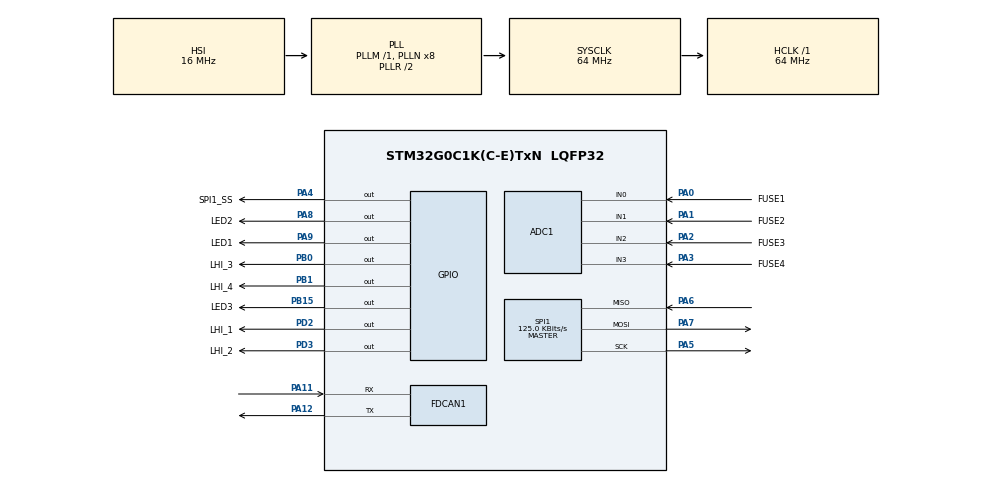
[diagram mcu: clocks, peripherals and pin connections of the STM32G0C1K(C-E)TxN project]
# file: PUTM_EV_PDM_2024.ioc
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ADC1.Channel-0\#ChannelRegularConversion=ADC_CHANNEL_0
ADC1.Channel-1\#ChannelRegularConversion=ADC_CHANNEL_1
ADC1.Channel-2\#ChannelRegularConversion=ADC_CHANNEL_2
ADC1.Channel-3\#ChannelRegularConversion=ADC_CHANNEL_3
ADC1.ClockPrescaler=ADC_CLOCK_ASYNC_DIV8
ADC1.ContinuousConvMode=ENABLE
ADC1.DMAContinuousRequests=ENABLE
ADC1.NbrOfConversion=4
ADC1.NbrOfConversionFlag=1
ADC1.Rank-0\#ChannelRegularConversion=1
ADC1.Rank-1\#ChannelRegularConversion=2
ADC1.Rank-2\#ChannelRegularConversion=3
ADC1.Rank-3\#ChannelRegularConversion=4
ADC1.SamplingTime-0\#ChannelRegularConversion=ADC_SAMPLINGTIME_COMMON_1
ADC1.SamplingTime-1\#ChannelRegularConversion=ADC_SAMPLINGTIME_COMMON_1
ADC1.SamplingTime-2\#ChannelRegularConversion=ADC_SAMPLINGTIME_COMMON_1
ADC1.SamplingTime-3\#ChannelRegularConversion=ADC_SAMPLINGTIME_COMMON_1
ADC1.SamplingTimeCommon1=ADC_SAMPLETIME_79CYCLES_5
ADC1.SamplingTimeCommon2=ADC_SAMPLETIME_19CYCLES_5
ADC1.SelectedChannel=ADC_CHANNEL_0|ADC_CHANNEL_1|ADC_CHANNEL_2|ADC_CHANNEL_3
ADC1.master=1
Dma.ADC1.0.Direction=DMA_PERIPH_TO_MEMORY
Dma.ADC1.0.EventEnable=DISABLE
Dma.ADC1.0.Instance=DMA1_Channel1
Dma.ADC1.0.MemDataAlignment=DMA_MDATAALIGN_HALFWORD
Dma.ADC1.0.MemInc=DMA_MINC_ENABLE
Dma.ADC1.0.Mode=DMA_CIRCULAR
Dma.ADC1.0.PeriphDataAlignment=DMA_PDATAALIGN_HALFWORD
Dma.ADC1.0.PeriphInc=DMA_PINC_DISABLE
Dma.ADC1.0.Polarity=HAL_DMAMUX_REQ_GEN_RISING
Dma.ADC1.0.Priority=DMA_PRIORITY_LOW
Dma.ADC1.0.RequestNumber=1
Dma.ADC1.0.SignalID=NONE
Dma.ADC1.0.SyncEnable=DISABLE
Dma.ADC1.0.SyncPolarity=HAL_DMAMUX_SYNC_NO_EVENT
Dma.ADC1.0.SyncRequestNumber=1
Dma.ADC1.0.SyncSignalID=NONE
Dma.Request0=ADC1
FDCAN1.CalculateBaudRateNominal=50000
FDCAN1.CalculateTimeBitNominal=20000
FDCAN1.CalculateTimeQuantumNominal=4000.0
Mcu.Family=STM32G0
Mcu.Name=STM32G0C1K(C-E)TxN
Mcu.Package=LQFP32
NVIC.DMA1_Channel1_IRQn=true\:0\:0\:false\:false\:true\:false\:true\:true
NVIC.TIM1_BRK_UP_TRG_COM_IRQn=true\:3\:0\:false\:false\:true\:false\:true\:true
NVIC.TimeBase=TIM1_BRK_UP_TRG_COM_IRQn
NVIC.TimeBaseIP=TIM1
PA0.GPIO_Label=FUSE1
PA0.Mode=IN0
PA0.Signal=ADC1_IN0
PA1.GPIO_Label=FUSE2
PA1.Mode=IN1
PA1.Signal=ADC1_IN1
PA11\ [PA9].Mode=FDCAN_Activate
PA11\ [PA9].Signal=FDCAN1_RX
PA12\ [PA10].Mode=FDCAN_Activate
PA12\ [PA10].Signal=FDCAN1_TX
PA13.Mode=Serial_Wire
PA13.Signal=SYS_SWDIO
PA14-BOOT0.Mode=Serial_Wire
PA14-BOOT0.Signal=SYS_SWCLK
PA2.GPIO_Label=FUSE3
PA2.Mode=IN2
PA2.Signal=ADC1_IN2
PA3.GPIO_Label=FUSE4
PA3.Mode=IN3
PA3.Signal=ADC1_IN3
PA4.GPIO_Label=SPI1_SS
PA4.Signal=GPIO_Output
PA5.Mode=Full_Duplex_Master
PA5.Signal=SPI1_SCK
PA6.Mode=Full_Duplex_Master
PA6.Signal=SPI1_MISO
PA7.Mode=Full_Duplex_Master
PA7.Signal=SPI1_MOSI
PA8.GPIO_Label=LED2
PA8.Signal=GPIO_Output
PA9.GPIO_Label=LED1
PA9.Signal=GPIO_Output
PB0.GPIO_Label=LHI_3
PB0.Signal=GPIO_Output
PB1.GPIO_Label=LHI_4
PB1.Signal=GPIO_Output
PB15.GPIO_Label=LED3
PB15.Signal=GPIO_Output
PB6.Signal=USART1_TX
PB7.Signal=USART1_RX
PD2.GPIO_Label=LHI_1
PD2.Signal=GPIO_Output
PD3.GPIO_Label=LHI_2
PD3.Signal=GPIO_Output
ProjectManager.HeapSize=0x200
ProjectManager.StackSize=0x400
ProjectManager.TargetToolchain=STM32CubeIDE
RCC.ADCFreq_Value=64000000
RCC.AHBFreq_Value=64000000
RCC.APB1CLKDivider=RCC_HCLK_DIV16
RCC.CortexFreq_Value=64000000
RCC.EXTERNAL_CLOCK_VALUE=48000
RCC.HCLKFreq_Value=64000000
RCC.HSE_VALUE=8000000
RCC.HSI48_VALUE=48000000
RCC.HSI_VALUE=16000000
RCC.LSE_VALUE=32768
RCC.SYSCLKFreq_VALUE=64000000
RCC.SYSCLKSource=RCC_SYSCLKSOURCE_PLLCLK
RCC.USBFreq_Value=48000000
RCC.VCOOutputFreq_Value=128000000
SPI1.BaudRatePrescaler=SPI_BAUDRATEPRESCALER_32
SPI1.CLKPhase=SPI_PHASE_2EDGE
SPI1.CalculateBaudRate=125.0 KBits/s
SPI1.Direction=SPI_DIRECTION_2LINES
SPI1.Mode=SPI_MODE_MASTER
SPI1.VirtualType=VM_MASTER
VP_SYS_VS_DBSignals.Mode=DisableDeadBatterySignals
VP_SYS_VS_tim1.Mode=TIM1
board=custom

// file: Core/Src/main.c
/* USER CODE BEGIN Header */
/**
  ******************************************************************************
  * @file           : main.c
  * @brief          : Main program body
  ******************************************************************************
  * @attention
  *
  * Copyright (c) 2024 STMicroelectronics.
  * All rights reserved.
  *
  * This software is licensed under terms that can be found in the LICENSE file
  * in the root directory of this software component.
  * If no LICENSE file comes with this software, it is provided AS-IS.
  *
  ******************************************************************************
  */
/* USER CODE END Header */
#include "main.h"
#include "adc.h"
#include "dma.h"
#include "fdcan.h"
#include "spi.h"
#include "gpio.h"

/* USER CODE BEGIN PD */
#define ADC_BUF_SIZE 4
#define __VREFANALOG_VOLTAGE__ 3300
#define OUT_READY 0x8F // 1000 1111
#define OUT_READY1 0x9F // 1000 1111
#define OUT_CLOSE 0x80 // 1000 0000
#define DCR_ACTIVE 0xF5 // 1111 0101
#define DCR_SLEEP 0xFF // 1111 1111
#define DCR_CHANNEL0 0xF8 // 1111 1000
#define DCR_CHANNEL1 0xF9 // 1111 1001
#define DCR_CHANNEL2 0xFA // 1111 1010
#define DCR_CHANNEL3 0xFB // 1111 1011
// Diagnosis Registers - Read Commands
#define WRNDIAG 0x01// 0000 0001
#define STDDIAG 0x02// 0000 0010
#define ERRDIAG 0x03// 0000 0011
// Configuration Registers - Read Commands
#define OUT_READ 0x00 // 0000 0000
#define RCS_READ 0x08 // 0000 1000
#define SRC_READ 0x09 // 0000 1001
#define OCR_READ 0x04 // 0000 0100
#define RCD_READ 0x0A // 0000 1100
#define KRC_READ 0x05 // 0000 0101
#define PCS_READ 0x0B // 0000 1101
#define HWCR_READ 0x05 // 0000 0110
#define ICS_READ 0x0B // 0000 1110
#define DCR_READ 0x07 // 0000 0111
/* USER CODE END PD */

/* USER CODE BEGIN PV */
uint8_t kek1[6] = { 0x8f, 0, 0, 0, 0, 0 };
uint8_t kek2[6];

uint16_t adc_buffer[ADC_BUF_SIZE];
uint8_t adc_ready = 0;

uint8_t tx_buffer[4];
uint8_t rx_buffer[4];

uint8_t after_first_loop = 0;

uint32_t fuse1_is_channel0=0;
uint32_t fuse2_is_channel0;
uint32_t fuse3_is_channel0;
uint32_t fuse4_is_channel0;

uint32_t fuse1_is_channel1;
uint32_t fuse2_is_channel1;
uint32_t fuse3_is_channel1;
uint32_t fuse4_is_channel1;

uint32_t fuse1_is_channel2;
uint32_t fuse2_is_channel2;
uint32_t fuse3_is_channel2;
uint32_t fuse4_is_channel2;

uint32_t fuse1_is_channel3;
uint32_t fuse2_is_channel3;
uint32_t fuse3_is_channel3;
uint32_t fuse4_is_channel3;
/* USER CODE END PV */

void SystemClock_Config(void);

int main(void)
{

  /* MCU Configuration--------------------------------------------------------*/

  /* Reset of all peripherals, Initializes the Flash interface and the Systick. */
  HAL_Init();

  /* Configure the system clock */
  SystemClock_Config();

  /* Initialize all configured peripherals */
  MX_GPIO_Init();
  MX_DMA_Init();
  MX_ADC1_Init();
  MX_FDCAN1_Init();
  MX_SPI1_Init();
  /* USER CODE BEGIN 2 */
  HAL_GPIO_WritePin(GPIOD, GPIO_PIN_2, GPIO_PIN_RESET);
  HAL_GPIO_WritePin(GPIOD, GPIO_PIN_3, GPIO_PIN_RESET);
  HAL_GPIO_WritePin(GPIOB, GPIO_PIN_0, GPIO_PIN_RESET);
  HAL_GPIO_WritePin(GPIOB, GPIO_PIN_1, GPIO_PIN_RESET);
  //sleep -> ready
  tx_buffer[0] = OUT_READY;
  tx_buffer[1] = OUT_READY;
  tx_buffer[2] = OUT_READY;
  tx_buffer[3] = OUT_READY;
  HAL_GPIO_WritePin(SPI1_SS_GPIO_Port, SPI1_SS_Pin, GPIO_PIN_RESET);
  HAL_SPI_TransmitReceive(&hspi1, tx_buffer, rx_buffer, 4, 100);
  HAL_GPIO_WritePin(SPI1_SS_GPIO_Port, SPI1_SS_Pin, GPIO_PIN_SET);
  //ready -> active
  tx_buffer[0] = DCR_ACTIVE;
  tx_buffer[1] = DCR_ACTIVE;
  tx_buffer[2] = DCR_ACTIVE;
  tx_buffer[3] = DCR_ACTIVE;
  HAL_GPIO_WritePin(SPI1_SS_GPIO_Port, SPI1_SS_Pin, GPIO_PIN_RESET);
  HAL_SPI_TransmitReceive(&hspi1, tx_buffer, rx_buffer, 4, 100);
  HAL_GPIO_WritePin(SPI1_SS_GPIO_Port, SPI1_SS_Pin, GPIO_PIN_SET);

  HAL_ADC_Start_DMA(&hadc1, adc_buffer, ADC_BUF_SIZE);
  /* USER CODE END 2 */

  /* Infinite loop */
  /* USER CODE BEGIN WHILE */
  while (1)
  {

	  HAL_GPIO_TogglePin(GPIOA, GPIO_PIN_9);
	  // set channel 0 - 7A // value fuse = 0,2244*current + 93 // 1215 - 5A
	  tx_buffer[0] = DCR_CHANNEL0;
	  tx_buffer[1] = DCR_CHANNEL0;
	  tx_buffer[2] = DCR_CHANNEL0;
	  tx_buffer[3] = DCR_CHANNEL0;
	  HAL_GPIO_WritePin(SPI1_SS_GPIO_Port, SPI1_SS_Pin, GPIO_PIN_RESET);
	  HAL_SPI_TransmitReceive(&hspi1, tx_buffer, rx_buffer, 4, 100);
	  HAL_GPIO_WritePin(SPI1_SS_GPIO_Port, SPI1_SS_Pin, GPIO_PIN_SET);
	  // check current on channel 0 - 7A
	  fuse1_is_channel0 = __HAL_ADC_CALC_DATA_TO_VOLTAGE(__VREFANALOG_VOLTAGE__,adc_buffer[0], ADC_RESOLUTION12b);
	  fuse2_is_channel0 = __HAL_ADC_CALC_DATA_TO_VOLTAGE(__VREFANALOG_VOLTAGE__,adc_buffer[1], ADC_RESOLUTION12b);
	  fuse3_is_channel0 = __HAL_ADC_CALC_DATA_TO_VOLTAGE(__VREFANALOG_VOLTAGE__,adc_buffer[2], ADC_RESOLUTION12b);
	  fuse4_is_channel0 = __HAL_ADC_CALC_DATA_TO_VOLTAGE(__VREFANALOG_VOLTAGE__,adc_buffer[3], ADC_RESOLUTION12b);
//	  if (fuse1_is_channel0 > 110 && after_first_loop) {
//
//	  tx_buffer[0] = OUT_CLOSE;
//	  tx_buffer[1] = OUT_CLOSE;
//	  tx_buffer[2] = OUT_CLOSE;
//	  tx_buffer[3] = OUT_CLOSE;
//	  HAL_GPIO_WritePin(SPI1_SS_GPIO_Port, SPI1_SS_Pin, GPIO_PIN_RESET);
//	  HAL_SPI_TransmitReceive(&hspi1, tx_buffer, rx_buffer, 4, 100);
//	  HAL_GPIO_WritePin(SPI1_SS_GPIO_Port, SPI1_SS_Pin, GPIO_PIN_SET);
//	}
//	  after_first_loop = 1;

	  // set channel 1 - 4A // value fuse = 0,2244*current + 93
	  tx_buffer[0] = DCR_CHANNEL1;
	  tx_buffer[1] = DCR_CHANNEL1;
	  tx_buffer[2] = DCR_CHANNEL1;
	  tx_buffer[3] = DCR_CHANNEL1;
	  HAL_GPIO_WritePin(SPI1_SS_GPIO_Port, SPI1_SS_Pin, GPIO_PIN_RESET);
	  HAL_SPI_TransmitReceive(&hspi1, tx_buffer, rx_buffer, 4, 100);
	  HAL_GPIO_WritePin(SPI1_SS_GPIO_Port, SPI1_SS_Pin, GPIO_PIN_SET);
	  // check current on channel 1 - 4A
	  fuse1_is_channel1 = __HAL_ADC_CALC_DATA_TO_VOLTAGE(__VREFANALOG_VOLTAGE__,adc_buffer[1], ADC_RESOLUTION12b);
	  fuse2_is_channel1 = __HAL_ADC_CALC_DATA_TO_VOLTAGE(__VREFANALOG_VOLTAGE__,adc_buffer[1], ADC_RESOLUTION12b);
	  fuse3_is_channel1 = __HAL_ADC_CALC_DATA_TO_VOLTAGE(__VREFANALOG_VOLTAGE__,adc_buffer[2], ADC_RESOLUTION12b);
	  fuse4_is_channel1 = __HAL_ADC_CALC_DATA_TO_VOLTAGE(__VREFANALOG_VOLTAGE__,adc_buffer[3], ADC_RESOLUTION12b);

	  // set channel 2 - 4A // value fuse = 0,2244*current + 93
	  tx_buffer[0] = DCR_CHANNEL2;
	  tx_buffer[1] = DCR_CHANNEL2;
	  tx_buffer[2] = DCR_CHANNEL2;
	  tx_buffer[3] = DCR_CHANNEL2;
	  HAL_GPIO_WritePin(SPI1_SS_GPIO_Port, SPI1_SS_Pin, GPIO_PIN_RESET);
	  HAL_SPI_TransmitReceive(&hspi1, tx_buffer, rx_buffer, 4, 100);
	  HAL_GPIO_WritePin(SPI1_SS_GPIO_Port, SPI1_SS_Pin, GPIO_PIN_SET);
	  // check current on channel 2 - 4A
	  fuse1_is_channel2 = __HAL_ADC_CALC_DATA_TO_VOLTAGE(__VREFANALOG_VOLTAGE__,adc_buffer[2], ADC_RESOLUTION12b);
	  fuse2_is_channel2 = __HAL_ADC_CALC_DATA_TO_VOLTAGE(__VREFANALOG_VOLTAGE__,adc_buffer[1], ADC_RESOLUTION12b);
	  fuse3_is_channel2 = __HAL_ADC_CALC_DATA_TO_VOLTAGE(__VREFANALOG_VOLTAGE__,adc_buffer[2], ADC_RESOLUTION12b);
	  fuse4_is_channel2 = __HAL_ADC_CALC_DATA_TO_VOLTAGE(__VREFANALOG_VOLTAGE__,adc_buffer[3], ADC_RESOLUTION12b);

	  // set channel 3 - 7A // value fuse = 0,2244*current + 93
	  tx_buffer[0] = DCR_CHANNEL3;
	  tx_buffer[1] = DCR_CHANNEL3;
	  tx_buffer[2] = DCR_CHANNEL3;
	  tx_buffer[3] = DCR_CHANNEL3;
	  HAL_GPIO_WritePin(SPI1_SS_GPIO_Port, SPI1_SS_Pin, GPIO_PIN_RESET);
	  HAL_SPI_TransmitReceive(&hspi1, tx_buffer, rx_buffer, 4, 100);
	  HAL_GPIO_WritePin(SPI1_SS_GPIO_Port, SPI1_SS_Pin, GPIO_PIN_SET);
	  // check current on channel 3 - 7A // value fuse = 0,2244*current + 93
	  fuse1_is_channel3 = __HAL_ADC_CALC_DATA_TO_VOLTAGE(__VREFANALOG_VOLTAGE__,adc_buffer[2], ADC_RESOLUTION12b);
	  fuse2_is_channel3 = __HAL_ADC_CALC_DATA_TO_VOLTAGE(__VREFANALOG_VOLTAGE__,adc_buffer[1], ADC_RESOLUTION12b);
	  fuse3_is_channel3 = __HAL_ADC_CALC_DATA_TO_VOLTAGE(__VREFANALOG_VOLTAGE__,adc_buffer[2], ADC_RESOLUTION12b);
	  fuse4_is_channel3 = __HAL_ADC_CALC_DATA_TO_VOLTAGE(__VREFANALOG_VOLTAGE__,adc_buffer[3], ADC_RESOLUTION12b);
	  HAL_Delay(100);
//	  if (fuse2_is_channel3 > 150  && after_first_loop) {
//
//	 	  tx_buffer[0] = OUT_CLOSE;
//	 	  tx_buffer[1] = OUT_CLOSE;
//	 	  tx_buffer[2] = OUT_CLOSE;
//	 	  tx_buffer[3] = OUT_CLOSE;
//	 	  HAL_GPIO_WritePin(SPI1_SS_GPIO_Port, SPI1_SS_Pin, GPIO_PIN_RESET);
//	 	  HAL_SPI_TransmitReceive(&hspi1, tx_buffer, rx_buffer, 4, 100);
//	 	  HAL_GPIO_WritePin(SPI1_SS_GPIO_Port, SPI1_SS_Pin, GPIO_PIN_SET);
//	 	}

	  if (fuse1_is_channel0 > 1180 || fuse2_is_channel0 > 1180 || fuse3_is_channel0 > 1180|| fuse4_is_channel0 > 1180 ||
		  fuse1_is_channel3 > 1180 || fuse2_is_channel3 > 1180 || fuse3_is_channel3 > 1180|| fuse4_is_channel3 > 1180  && after_first_loop)
	  {

		  tx_buffer[0] = OUT_CLOSE;
		  tx_buffer[1] = OUT_CLOSE;
		  tx_buffer[2] = OUT_CLOSE;
		  tx_buffer[3] = OUT_CLOSE;
		  HAL_GPIO_WritePin(SPI1_SS_GPIO_Port, SPI1_SS_Pin, GPIO_PIN_RESET);
		  HAL_SPI_TransmitReceive(&hspi1, tx_buffer, rx_buffer, 4, 100);
		  HAL_GPIO_WritePin(SPI1_SS_GPIO_Port, SPI1_SS_Pin, GPIO_PIN_SET);
		  HAL_Delay(1000);

	  }
	  if (fuse1_is_channel1 > 990 || fuse2_is_channel1 > 990 || fuse3_is_channel1 > 990|| fuse4_is_channel1 > 990 ||
		  fuse1_is_channel2 > 990 || fuse2_is_channel2 > 990 || fuse3_is_channel2 > 990|| fuse4_is_channel2 > 990  && after_first_loop)
	  	  {

	  		  tx_buffer[0] = OUT_CLOSE;
	  		  tx_buffer[1] = OUT_CLOSE;
	  		  tx_buffer[2] = OUT_CLOSE;
	  		  tx_buffer[3] = OUT_CLOSE;
	  		  HAL_GPIO_WritePin(SPI1_SS_GPIO_Port, SPI1_SS_Pin, GPIO_PIN_RESET);
	  		  HAL_SPI_TransmitReceive(&hspi1, tx_buffer, rx_buffer, 4, 100);
	  		  HAL_GPIO_WritePin(SPI1_SS_GPIO_Port, SPI1_SS_Pin, GPIO_PIN_SET);
	  		HAL_Delay(1000);

	  	  }
	 	  after_first_loop = 1;

    /* USER CODE END WHILE */

  }
}

void SystemClock_Config(void)
{
  RCC_OscInitTypeDef RCC_OscInitStruct = {0};
  RCC_ClkInitTypeDef RCC_ClkInitStruct = {0};

  /** Configure the main internal regulator output voltage
  */
  HAL_PWREx_ControlVoltageScaling(PWR_REGULATOR_VOLTAGE_SCALE1);

  /** Initializes the RCC Oscillators according to the specified parameters
  * in the RCC_OscInitTypeDef structure.
  */
  RCC_OscInitStruct.OscillatorType = RCC_OSCILLATORTYPE_HSI;
  RCC_OscInitStruct.HSIState = RCC_HSI_ON;
  RCC_OscInitStruct.HSIDiv = RCC_HSI_DIV1;
  RCC_OscInitStruct.HSICalibrationValue = RCC_HSICALIBRATION_DEFAULT;
  RCC_OscInitStruct.PLL.PLLState = RCC_PLL_ON;
  RCC_OscInitStruct.PLL.PLLSource = RCC_PLLSOURCE_HSI;
  RCC_OscInitStruct.PLL.PLLM = RCC_PLLM_DIV1;
  RCC_OscInitStruct.PLL.PLLN = 8;
  RCC_OscInitStruct.PLL.PLLP = RCC_PLLP_DIV2;
  RCC_OscInitStruct.PLL.PLLQ = RCC_PLLQ_DIV2;
  RCC_OscInitStruct.PLL.PLLR = RCC_PLLR_DIV2;
  if (HAL_RCC_OscConfig(&RCC_OscInitStruct) != HAL_OK)
  {
    Error_Handler();
  }

  /** Initializes the CPU, AHB and APB buses clocks
  */
  RCC_ClkInitStruct.ClockType = RCC_CLOCKTYPE_HCLK|RCC_CLOCKTYPE_SYSCLK
                              |RCC_CLOCKTYPE_PCLK1;
  RCC_ClkInitStruct.SYSCLKSource = RCC_SYSCLKSOURCE_PLLCLK;
  RCC_ClkInitStruct.AHBCLKDivider = RCC_SYSCLK_DIV1;
  RCC_ClkInitStruct.APB1CLKDivider = RCC_HCLK_DIV16;

  if (HAL_RCC_ClockConfig(&RCC_ClkInitStruct, FLASH_LATENCY_2) != HAL_OK)
  {
    Error_Handler();
  }
}

void HAL_TIM_PeriodElapsedCallback(TIM_HandleTypeDef *htim)
{
  if (htim->Instance == TIM1) {
    HAL_IncTick();
  }
}

void Error_Handler(void)
{
  __disable_irq();
  while (1)
  {
  }
}
